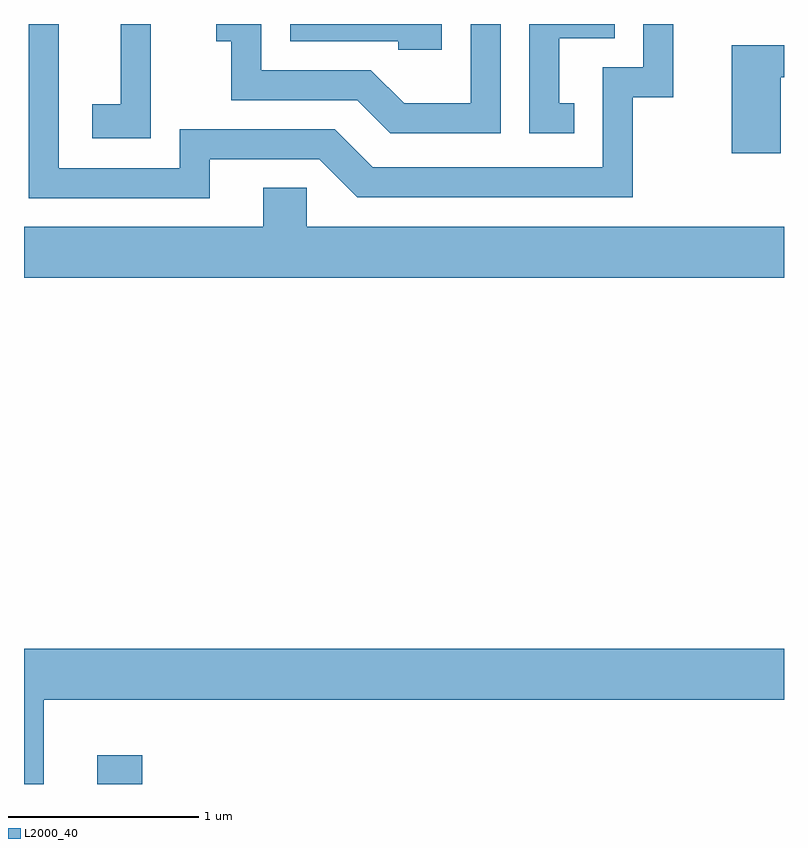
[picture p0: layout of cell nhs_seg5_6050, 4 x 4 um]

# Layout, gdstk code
import gdstk
lib = gdstk.Library(unit=1e-6, precision=1e-09)
def R(c, l, rs):  # rectangles x0, y0, x1, y1
    for r in rs: c.add(gdstk.rectangle(r[:2], r[2:], *l))
def P(c, l, *ps):  # polygons
    for p in ps: c.add(gdstk.Polygon(p, *l))
L2000_40 = (2000, 40)

nhs_seg5_6050 = lib.new_cell('nhs_seg5_6050')
R(nhs_seg5_6050, L2000_40, [(363.996,1514.072,364.234,1514.224)])
P(nhs_seg5_6050, L2000_40, [(366.508,1517.654),(366.429,1517.654),(366.429,1517.996),(366.719,1517.996),(366.719,1518.072),(366.271,1518.072),(366.271,1517.496),(366.508,1517.496)],
  [(364.279,1518.072),(364.121,1518.072),(364.121,1517.649),(363.971,1517.649),(363.971,1517.471),(364.279,1517.471)],
  [(365.809,1518.072),(365.011,1518.072),(365.011,1517.981),(365.581,1517.981),(365.581,1517.936),(365.809,1517.936)],
  [(366.119,1518.072),(365.961,1518.072),(365.961,1517.654),(365.612,1517.654),(365.437,1517.829),(364.859,1517.829),(364.859,1518.072),(364.623,1518.072),(364.623,1517.981),(364.701,1517.981),(364.701,1517.671),(365.364,1517.671),(365.539,1517.496),(366.119,1517.496)],
  [(364.589,1517.361),(365.164,1517.361),(365.364,1517.161),(366.814,1517.161),(366.814,1517.686),(367.029,1517.686),(367.029,1518.072),(366.871,1518.072),(366.871,1517.844),(366.656,1517.844),(366.656,1517.319),(365.447,1517.319),(365.247,1517.519),(364.431,1517.519),(364.431,1517.314),(363.794,1517.314),(363.794,1518.072),(363.636,1518.072),(363.636,1517.156),(364.589,1517.156)],
  [(367.594,1517.791),(367.611,1517.791),(367.611,1517.959),(367.336,1517.959),(367.336,1517.391),(367.594,1517.391)],
  [(367.611,1517.004),(365.099,1517.004),(365.099,1517.209),(364.871,1517.209),(364.871,1517.004),(363.611,1517.004),(363.611,1516.736),(367.611,1516.736)],
  [(363.714,1514.516),(367.611,1514.516),(367.611,1514.784),(363.611,1514.784),(363.611,1514.072),(363.714,1514.072)])

lib.write_gds('nhs_seg5_6050.gds')
